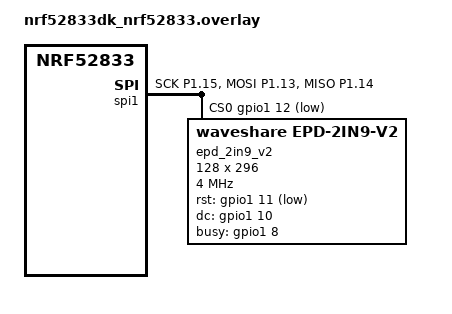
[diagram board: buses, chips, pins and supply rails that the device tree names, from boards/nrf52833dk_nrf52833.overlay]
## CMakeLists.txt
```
# E-Paper Display Demo Application
#
# Copyright (c) 2025
# SPDX-License-Identifier: Apache-2.0

cmake_minimum_required(VERSION 3.20.0)

# Note: When building this sample, you need to specify the module path.
# Option 1: Use west build with -DZEPHYR_EXTRA_MODULES
# Option 2: Set ZEPHYR_EXTRA_MODULES environment variable
# Option 3: Build from outside the module and add module to ZEPHYR_EXTRA_MODULES
#
# The module path should NOT be added here when the sample is inside the module,
# as it causes binary directory conflicts.

find_package(Zephyr REQUIRED HINTS $ENV{ZEPHYR_BASE})
project(epaper_demo)

target_sources(app PRIVATE src/main.c)
```

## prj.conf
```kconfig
# E-Paper Display Demo Configuration
#
# Copyright (c) 2025
# SPDX-License-Identifier: Apache-2.0

# Logging
CONFIG_LOG=y
CONFIG_LOG_DEFAULT_LEVEL=3
CONFIG_PRINTK=y
CONFIG_CONSOLE=y
CONFIG_UART_CONSOLE=y

# SPI
CONFIG_SPI=y
CONFIG_SPI_INIT_PRIORITY=70

# GPIO
CONFIG_GPIO=y

# E-Paper Display Driver
CONFIG_EPAPER_EPD_2IN9_V2=y
CONFIG_EPAPER_EPD_2IN9_V2_INIT_PRIORITY=80
CONFIG_EPAPER_EPD_2IN9_V2_PARTIAL_UPDATE=y
CONFIG_EPAPER_EPD_2IN9_V2_FAST_MODE=y
CONFIG_EPAPER_EPD_2IN9_V2_GRAY4_MODE=y

# LVGL (disabled for initial testing - enable after installing LVGL module)
# CONFIG_LVGL=y
# CONFIG_LVGL_COLOR_DEPTH=1
# CONFIG_LVGL_DPI=128
# CONFIG_LVGL_HOR_RES=128
# CONFIG_LVGL_VER_RES=296
# CONFIG_LVGL_DISPLAY_BUFFER_SIZE=4736

# Heap and stack sizes
CONFIG_HEAP_MEM_POOL_SIZE=32768
CONFIG_MAIN_STACK_SIZE=4096
CONFIG_SYSTEM_WORKQUEUE_STACK_SIZE=2048

# Newlib for malloc/free
CONFIG_NEWLIB_LIBC=y
CONFIG_NEWLIB_LIBC_NANO=n
```

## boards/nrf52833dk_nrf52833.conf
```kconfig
# Board-specific configuration for nRF52833-DK

# Enable required peripherals
CONFIG_SPI=y
CONFIG_GPIO=y
```

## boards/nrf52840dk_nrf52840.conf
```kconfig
# nRF52840-DK specific configuration
# Add any board-specific settings here
```

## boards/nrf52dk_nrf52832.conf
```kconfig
# nRF52832-DK specific configuration

# Enable SPI and GPIO
CONFIG_SPI=y
CONFIG_GPIO=y

# Override Product Anomaly 58 (SPIM hardware bug)
# The nRF52832 has a hardware issue where an extra byte is clocked out
# when RXD.MAXCNT == 1 and TXD.MAXCNT <= 1. This workaround allows
# using SPIM despite this limitation.
CONFIG_SOC_NRF52832_ALLOW_SPIM_DESPITE_PAN_58=y
```

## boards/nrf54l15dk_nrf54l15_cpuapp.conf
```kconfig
# nRF54L15-DK specific configuration
# Add any board-specific settings here
```

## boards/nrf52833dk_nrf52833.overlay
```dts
/*
 * Device tree overlay for Waveshare EPD 2.9" V2 on nRF52833-DK
 *
 * Uses Arduino header pins for shield compatibility:
 *
 * SPI Pins (Arduino SPI header):
 * - MOSI: P1.13 (Arduino D11)
 * - MISO: P1.14 (Arduino D12) - not used by e-Paper
 * - SCK:  P1.15 (Arduino D13)
 * - CS:   P1.12 (Arduino D10)
 *
 * Control Pins:
 * - RST:  P1.11 (Arduino D9)
 * - DC:   P1.10 (Arduino D8)
 * - BUSY: P1.8  (Arduino D7)
 */

&pinctrl {
	spi1_default: spi1_default {
		group1 {
			psels = <NRF_PSEL(SPIM_SCK, 1, 15)>,
				<NRF_PSEL(SPIM_MOSI, 1, 13)>,
				<NRF_PSEL(SPIM_MISO, 1, 14)>;
		};
	};

	spi1_sleep: spi1_sleep {
		group1 {
			psels = <NRF_PSEL(SPIM_SCK, 1, 15)>,
				<NRF_PSEL(SPIM_MOSI, 1, 13)>,
				<NRF_PSEL(SPIM_MISO, 1, 14)>;
			low-power-enable;
		};
	};
};

&spi1 {
	compatible = "nordic,nrf-spim";
	status = "okay";
	pinctrl-0 = <&spi1_default>;
	pinctrl-1 = <&spi1_sleep>;
	pinctrl-names = "default", "sleep";
	cs-gpios = <&gpio1 12 GPIO_ACTIVE_LOW>;  /* Arduino D10 */

	epd_2in9_v2: epd@0 {
		compatible = "waveshare,epd-2in9-v2";
		reg = <0>;
		spi-max-frequency = <4000000>;  /* 4 MHz */
		rst-gpios = <&gpio1 11 GPIO_ACTIVE_LOW>;   /* Arduino D9 */
		dc-gpios = <&gpio1 10 GPIO_ACTIVE_HIGH>;   /* Arduino D8 */
		busy-gpios = <&gpio1 8 GPIO_ACTIVE_HIGH>;  /* Arduino D7 */
		width = <128>;
		height = <296>;
	};
};
```

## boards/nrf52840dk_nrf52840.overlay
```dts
/*
 * Device tree overlay for Waveshare EPD 2.9" V2 on nRF52840-DK
 *
 * Uses Arduino header pins for shield compatibility:
 *
 * SPI Pins (Arduino SPI header):
 * - MOSI: P1.13 (Arduino D11)
 * - MISO: P1.14 (Arduino D12) - not used by e-Paper
 * - SCK:  P1.15 (Arduino D13)
 * - CS:   P1.12 (Arduino D10)
 *
 * Control Pins:
 * - RST:  P1.11 (Arduino D9)
 * - DC:   P1.10 (Arduino D8)
 * - BUSY: P1.8  (Arduino D7)
 */

&pinctrl {
	spi1_default: spi1_default {
		group1 {
			psels = <NRF_PSEL(SPIM_SCK, 1, 15)>,
				<NRF_PSEL(SPIM_MOSI, 1, 13)>,
				<NRF_PSEL(SPIM_MISO, 1, 14)>;
		};
	};

	spi1_sleep: spi1_sleep {
		group1 {
			psels = <NRF_PSEL(SPIM_SCK, 1, 15)>,
				<NRF_PSEL(SPIM_MOSI, 1, 13)>,
				<NRF_PSEL(SPIM_MISO, 1, 14)>;
			low-power-enable;
		};
	};
};

&spi1 {
	compatible = "nordic,nrf-spim";
	status = "okay";
	pinctrl-0 = <&spi1_default>;
	pinctrl-1 = <&spi1_sleep>;
	pinctrl-names = "default", "sleep";
	cs-gpios = <&gpio1 12 GPIO_ACTIVE_LOW>;  /* Arduino D10 */

	epd_2in9_v2: epd@0 {
		compatible = "waveshare,epd-2in9-v2";
		reg = <0>;
		spi-max-frequency = <4000000>;  /* 4 MHz */
		rst-gpios = <&gpio1 11 GPIO_ACTIVE_LOW>;   /* Arduino D9 */
		dc-gpios = <&gpio1 10 GPIO_ACTIVE_HIGH>;   /* Arduino D8 */
		busy-gpios = <&gpio1 8 GPIO_ACTIVE_HIGH>;  /* Arduino D7 */
		width = <128>;
		height = <296>;
	};
};
```

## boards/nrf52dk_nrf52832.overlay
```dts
/*
 * Device tree overlay for Waveshare EPD 2.9" V2 on nRF52832-DK
 *
 * SPI Pin Configuration:
 * - MOSI: P0.22 (Arduino D11)
 * - MISO: P0.23 (Arduino D12) - not used by e-Paper
 * - SCK:  P0.24 (Arduino D13)
 * - CS:   P0.25 (Arduino D10)
 *
 * Control Pins:
 * - RST:  P0.26 (Arduino D9)
 * - DC:   P0.27 (Arduino D8)
 * - BUSY: P0.28 (Arduino D7)
 */

&pinctrl {
	spi1_default: spi1_default {
		group1 {
			psels = <NRF_PSEL(SPIM_SCK, 0, 24)>,
				<NRF_PSEL(SPIM_MOSI, 0, 22)>,
				<NRF_PSEL(SPIM_MISO, 0, 23)>;
		};
	};

	spi1_sleep: spi1_sleep {
		group1 {
			psels = <NRF_PSEL(SPIM_SCK, 0, 24)>,
				<NRF_PSEL(SPIM_MOSI, 0, 22)>,
				<NRF_PSEL(SPIM_MISO, 0, 23)>;
			low-power-enable;
		};
	};
};

&spi1 {
	compatible = "nordic,nrf-spim";
	status = "okay";
	pinctrl-0 = <&spi1_default>;
	pinctrl-1 = <&spi1_sleep>;
	pinctrl-names = "default", "sleep";
	cs-gpios = <&gpio0 25 GPIO_ACTIVE_LOW>;

	epd_2in9_v2: epd@0 {
		compatible = "waveshare,epd-2in9-v2";
		reg = <0>;
		spi-max-frequency = <4000000>;  /* 4 MHz */
		rst-gpios = <&gpio0 26 GPIO_ACTIVE_LOW>;
		dc-gpios = <&gpio0 27 GPIO_ACTIVE_HIGH>;
		busy-gpios = <&gpio0 28 GPIO_ACTIVE_HIGH>;
		width = <128>;
		height = <296>;
	};
};
```

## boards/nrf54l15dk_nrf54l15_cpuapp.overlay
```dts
/*
 * Device tree overlay for Waveshare EPD 2.9" V2 on nRF54L15-DK
 *
 * SPI Pin Configuration:
 * - MOSI: P1.11 (Arduino D11)
 * - MISO: P1.12 (Arduino D12) - not used by e-Paper
 * - SCK:  P1.13 (Arduino D13)
 * - CS:   P1.10 (Arduino D10)
 *
 * Control Pins:
 * - RST:  P1.09 (Arduino D9)
 * - DC:   P1.08 (Arduino D8)
 * - BUSY: P1.07 (Arduino D7)
 */

&pinctrl {
	spi22_default: spi22_default {
		group1 {
			psels = <NRF_PSEL(SPIM_SCK, 1, 13)>,
				<NRF_PSEL(SPIM_MOSI, 1, 11)>,
				<NRF_PSEL(SPIM_MISO, 1, 12)>;
		};
	};

	spi22_sleep: spi22_sleep {
		group1 {
			psels = <NRF_PSEL(SPIM_SCK, 1, 13)>,
				<NRF_PSEL(SPIM_MOSI, 1, 11)>,
				<NRF_PSEL(SPIM_MISO, 1, 12)>;
			low-power-enable;
		};
	};
};

&spi22 {
	compatible = "nordic,nrf-spim";
	status = "okay";
	pinctrl-0 = <&spi22_default>;
	pinctrl-1 = <&spi22_sleep>;
	pinctrl-names = "default", "sleep";
	cs-gpios = <&gpio1 10 GPIO_ACTIVE_LOW>;

	epd_2in9_v2: epd@0 {
		compatible = "waveshare,epd-2in9-v2";
		reg = <0>;
		spi-max-frequency = <4000000>;  /* 4 MHz */
		rst-gpios = <&gpio1 9 GPIO_ACTIVE_LOW>;
		dc-gpios = <&gpio1 8 GPIO_ACTIVE_HIGH>;
		busy-gpios = <&gpio1 7 GPIO_ACTIVE_HIGH>;
		width = <128>;
		height = <296>;
	};
};
```

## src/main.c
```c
/*
 * E-Paper Display Demo with LVGL
 *
 * Copyright (c) 2025
 * SPDX-License-Identifier: Apache-2.0
 *
 * This demo shows how to use the Waveshare 2.9" e-Paper display
 * with LVGL on Zephyr OS.
 */

#include <zephyr/kernel.h>
#include <zephyr/device.h>
#include <zephyr/logging/log.h>
#include <drivers/epd_2in9_v2.h>

#ifdef CONFIG_LVGL
#include "lvgl.h"
#include "lvgl_epaper_driver.h"
#endif

LOG_MODULE_REGISTER(epaper_demo, LOG_LEVEL_INF);

#define EPD_NODE DT_NODELABEL(epd_2in9_v2)

static const struct device *epd_dev = DEVICE_DT_GET(EPD_NODE);

/* LVGL task thread */
#ifdef CONFIG_LVGL
#define LVGL_TASK_PRIORITY 5
#define LVGL_TASK_STACK_SIZE 4096

static K_THREAD_STACK_DEFINE(lvgl_task_stack, LVGL_TASK_STACK_SIZE);
static struct k_thread lvgl_task_thread;

static void lvgl_task_entry(void *p1, void *p2, void *p3)
{
	ARG_UNUSED(p1);
	ARG_UNUSED(p2);
	ARG_UNUSED(p3);

	while (1) {
		lvgl_epaper_task_handler();
		k_msleep(10);
	}
}

static void create_demo_ui(void)
{
	lv_obj_t *scr = lv_scr_act();

	/* Set background to white */
	lv_obj_set_style_bg_color(scr, lv_color_white(), 0);

	/* Create a title label */
	lv_obj_t *title = lv_label_create(scr);
	lv_label_set_text(title, "Zephyr OS\ne-Paper Demo");
	lv_obj_set_style_text_align(title, LV_TEXT_ALIGN_CENTER, 0);
	lv_obj_align(title, LV_ALIGN_TOP_MID, 0, 10);
	lv_obj_set_style_text_color(title, lv_color_black(), 0);

	/* Create a box with border */
	lv_obj_t *box = lv_obj_create(scr);
	lv_obj_set_size(box, 100, 60);
	lv_obj_align(box, LV_ALIGN_CENTER, 0, -20);
	lv_obj_set_style_bg_color(box, lv_color_white(), 0);
	lv_obj_set_style_border_color(box, lv_color_black(), 0);
	lv_obj_set_style_border_width(box, 2, 0);

	/* Create text inside the box */
	lv_obj_t *box_label = lv_label_create(box);
	lv_label_set_text(box_label, "WEACT\nESL 2.9\"");
	lv_obj_set_style_text_align(box_label, LV_TEXT_ALIGN_CENTER, 0);
	lv_obj_center(box_label);
	lv_obj_set_style_text_color(box_label, lv_color_black(), 0);

	/* Create info text */
	lv_obj_t *info = lv_label_create(scr);
	lv_label_set_text(info, "Resolution: 128x296\nDriver: EPD 2.9\" V2\nLVGL v9");
	lv_obj_set_style_text_align(info, LV_TEXT_ALIGN_CENTER, 0);
	lv_obj_align(info, LV_ALIGN_BOTTOM_MID, 0, -30);
	lv_obj_set_style_text_color(info, lv_color_black(), 0);

	/* Create board info */
	lv_obj_t *board = lv_label_create(scr);
#if defined(CONFIG_BOARD_NRF52840DK_NRF52840)
	lv_label_set_text(board, "Board: nRF52840-DK");
#elif defined(CONFIG_BOARD_NRF52DK_NRF52832)
	lv_label_set_text(board, "Board: nRF52832-DK");
#elif defined(CONFIG_BOARD_NRF54L15DK_NRF54L15_CPUAPP)
	lv_label_set_text(board, "Board: nRF54L15-DK");
#else
	lv_label_set_text(board, "Board: Unknown");
#endif
	lv_obj_align(board, LV_ALIGN_BOTTOM_MID, 0, -10);
	lv_obj_set_style_text_color(board, lv_color_black(), 0);
}
#endif /* CONFIG_LVGL */

/* Basic e-Paper test without LVGL */
static void basic_epaper_test(void)
{
	int ret;
	uint8_t test_buffer[EPD_2IN9_V2_BUFFER_SIZE];

	LOG_INF("Running basic e-Paper test (without LVGL)");

	/* Initialize display */
	ret = epd_2in9_v2_init(epd_dev, EPD_REFRESH_FULL);
	if (ret < 0) {
		LOG_ERR("Failed to initialize display: %d", ret);
		return;
	}

	/* Clear display */
	LOG_INF("Clearing display...");
	ret = epd_2in9_v2_clear(epd_dev);
	if (ret < 0) {
		LOG_ERR("Failed to clear display: %d", ret);
		return;
	}

	k_msleep(2000);

	/* Create a simple pattern */
	LOG_INF("Displaying test pattern...");
	memset(test_buffer, 0x00, EPD_2IN9_V2_BUFFER_SIZE);

	/* Draw horizontal lines */
	for (int y = 0; y < EPD_2IN9_V2_HEIGHT; y += 20) {
		for (int x = 0; x < EPD_2IN9_V2_WIDTH; x++) {
			int byte_idx = (y * EPD_2IN9_V2_WIDTH + x) / 8;
			int bit_idx = 7 - (x % 8);
			test_buffer[byte_idx] &= ~(1 << bit_idx);
		}
	}

	/* Display the pattern */
	ret = epd_2in9_v2_display(epd_dev, test_buffer, EPD_REFRESH_FULL);
	if (ret < 0) {
		LOG_ERR("Failed to display pattern: %d", ret);
		return;
	}

	LOG_INF("Test pattern displayed successfully");

	/* Sleep after 5 seconds */
	k_msleep(5000);
	LOG_INF("Putting display to sleep...");
	epd_2in9_v2_sleep(epd_dev);
}

int main(void)
{
	LOG_INF("=== E-Paper Display Demo ===");
	LOG_INF("Board: %s", CONFIG_BOARD);

	/* Check if e-Paper device is ready */
	if (!device_is_ready(epd_dev)) {
		LOG_ERR("E-Paper device not ready!");
		return -ENODEV;
	}

	LOG_INF("E-Paper device is ready");

#ifdef CONFIG_LVGL
	/* Initialize LVGL with e-Paper */
	int ret = lvgl_epaper_init();
	if (ret < 0) {
		LOG_ERR("Failed to initialize LVGL: %d", ret);
		LOG_INF("Falling back to basic e-Paper test");
		basic_epaper_test();
		return ret;
	}

	LOG_INF("LVGL initialized successfully");

	/* Create demo UI */
	create_demo_ui();

	/* Start LVGL task thread */
	k_thread_create(&lvgl_task_thread, lvgl_task_stack,
			K_THREAD_STACK_SIZEOF(lvgl_task_stack),
			lvgl_task_entry, NULL, NULL, NULL,
			LVGL_TASK_PRIORITY, 0, K_NO_WAIT);

	LOG_INF("LVGL task started");
	LOG_INF("Demo UI created and displayed");

	/* Main loop - can add button handling, animations, etc. */
	while (1) {
		k_msleep(1000);
		LOG_DBG("Main loop running...");
	}
#else
	/* Run basic test if LVGL is not enabled */
	basic_epaper_test();

	while (1) {
		k_msleep(10000);
	}
#endif

	return 0;
}
```
